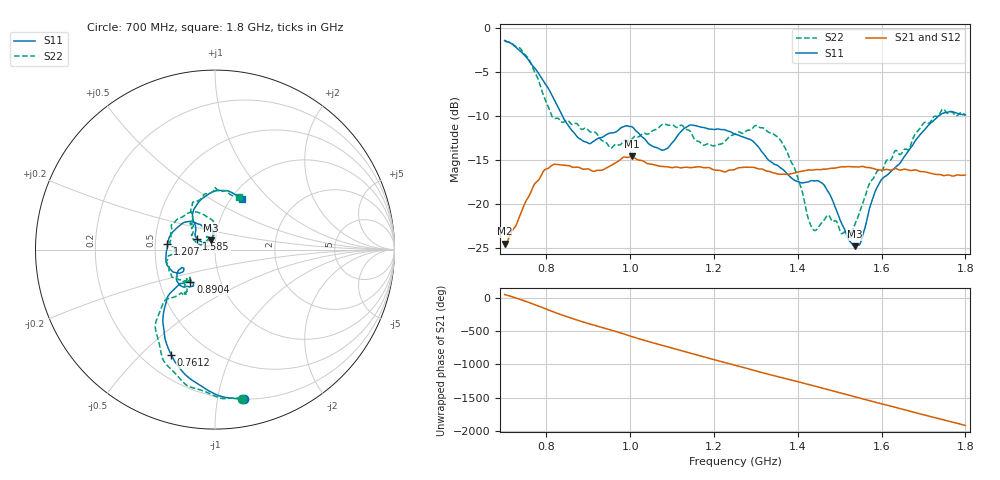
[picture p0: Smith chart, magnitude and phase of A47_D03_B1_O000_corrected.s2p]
! Created with skrf 1.9.0 (http://scikit-rf.org).
# Hz S RI R 50.0
!freq ReS11 ImS11 ReS21 ImS21 ReS12 ImS12 ReS22 ImS22
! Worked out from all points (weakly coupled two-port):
!   1601 points, 700 MHz to 1.8 GHz, reference 50 ohm
!   highest |S21| = -14.60 dB at 1.003 GHz (marker M1); lowest = -24.5 dB at 700.7 MHz (marker M2)
!   lowest |S11| = -24.8 dB at 1.535 GHz (marker M3), VSWR 1.12, Z = 47.3 + j4.93 ohm
!   |S11| at or under -10 dB: 838.1 MHz to 1.736 GHz (897.9 MHz wide, 69.8 % of centre)
!   |S22| runs from -23.8 to -1.5 dB; largest |S21 - S12| = 0.0034
!   S11 on the Smith chart (normalised r, x): 700 MHz: 0.20, -1.19; 761.2 MHz: 0.32, -0.62; 890.4 MHz: 0.72, -0.27; 1.207 GHz: 0.58, +0.04; 1.585 GHz: 0.81, +0.10; 1.8 GHz: 1.12, +0.71
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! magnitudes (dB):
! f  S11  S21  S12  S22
! 700 MHz  -1.4  -24.5  -24.3  -1.5
! 700.7 MHz  -1.4  -24.5  -24.2  -1.5
! 761.2 MHz  -3.9  -18.8  -18.7  -3.9
! 814.8 MHz  -7.8  -15.5  -15.6  -10.2
! 883.6 MHz  -12.7  -16.0  -15.9  -11.5
! 890.4 MHz  -12.9  -16.0  -16.0  -11.4
! 953 MHz  -11.9  -15.7  -15.6  -13.6
! 1.003 GHz  -11.2  -14.6  -14.7  -12.7
! 1.067 GHz  -13.7  -15.7  -15.6  -11.3
! 1.142 GHz  -11.0  -15.9  -15.8  -11.7
! 1.207 GHz  -11.5  -16.2  -16.2  -13.3
! 1.25 GHz  -12.1  -16.1  -16.0  -12.0
! 1.357 GHz  -15.8  -16.6  -16.6  -12.6
! 1.434 GHz  -17.3  -16.1  -16.1  -22.7
! 1.466 GHz  -18.1  -16.0  -16.0  -21.6
! 1.522 GHz  -24.1  -15.7  -15.8  -23.8
! 1.535 GHz  -24.8  -15.8  -15.8  -22.4
! 1.551 GHz  -24.2  -15.7  -15.8  -20.4
! 1.585 GHz  -18.6  -16.0  -16.0  -16.7
! 1.617 GHz  -16.5  -16.1  -16.1  -15.0
! 1.737 GHz  -9.9  -16.6  -16.7  -9.9
! 1.8 GHz  -9.9  -16.7  -16.7  -9.9
